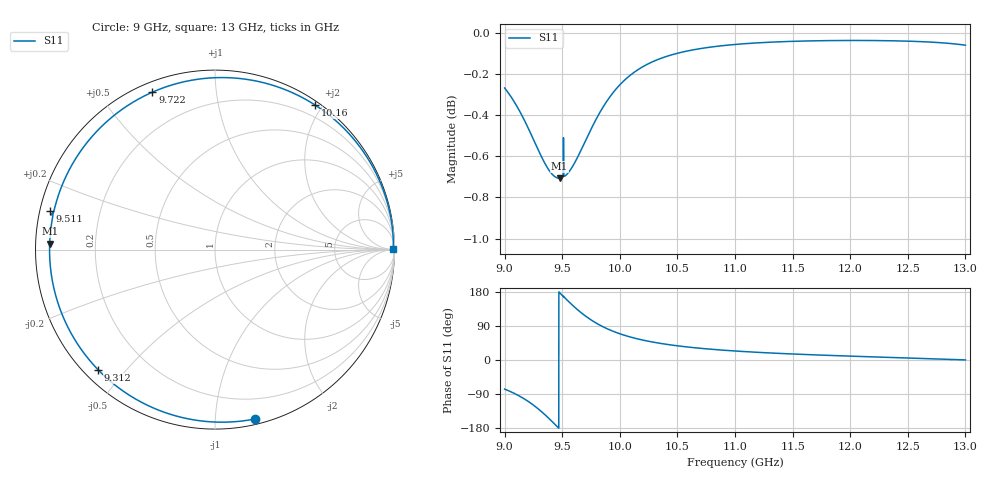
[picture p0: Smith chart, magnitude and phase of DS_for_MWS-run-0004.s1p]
! TOUCHSTONE file generated by CST DESIGN STUDIO
! Date and time: Tue Feb  4 14:31:29 2025
! Project name: C:\Work\MatlabApps\UnitCellOptimizationMatlab\CST\unitcell.cst
! Tree item: Tasks\Sweep1\SPara1\S-Parameters
! Header version: 2024
! Port assignment regex: !\s*Touchstone port\s*([0-9]+)\s*=\s*(CST MWS port|CST DES external port|CST DES block port)\s*(.+)\s* \(\"(.*)\"\)(\s*mode\s*([0-9]+))?.*
! Touchstone port assignment:
! Touchstone port 1 = CST DES external port 1 ("")
# GHz S MA R 50
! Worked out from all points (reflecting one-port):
!   4001 points, 9 GHz to 13 GHz, reference 50 ohm
!   lowest |S11| = -0.7 dB at 9.477 GHz (marker M1), VSWR 24.58, Z = 2.04 + j0.907 ohm
!   phase of S11 starts at -77 deg and turns -283 deg over the sweep
!   S11 on the Smith chart (normalised r, x): 9 GHz: 0.04, -1.26; 9.312 GHz: 0.04, -0.42; 9.511 GHz: 0.03, +0.12; 9.722 GHz: 0.04, +0.68; 10.16 GHz: 0.05, +1.91; 13 GHz: open
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9  0.9696 -76.8
9.079  0.9626 -87.3
9.178  0.9515 -104.0
9.247  0.9425 -118.3
9.312  0.934 -134.1
9.355  0.929 -145.7
9.401  0.9247 -159.0
9.44  0.9225 -170.7
9.477  0.9218 177.9
9.5  0.9221 170.8
9.511  0.943 166.9
9.562  0.9254 152.4
9.619  0.9311 136.4
9.67  0.9373 123.5
9.722  0.9439 111.7
9.777  0.9508 100.7
9.838  0.9576 90.2
9.917  0.9651 78.9
10  0.9713 69.2
10.161  0.9797 55.2
10.315  0.9848 45.7
10.5  0.9886 37.4
10.722  0.9914 30.2
11  0.9935 23.8
11.5  0.9953 15.8
12  0.9957 10.2
12.5  0.9954 5.4
13  0.9931 0.2
